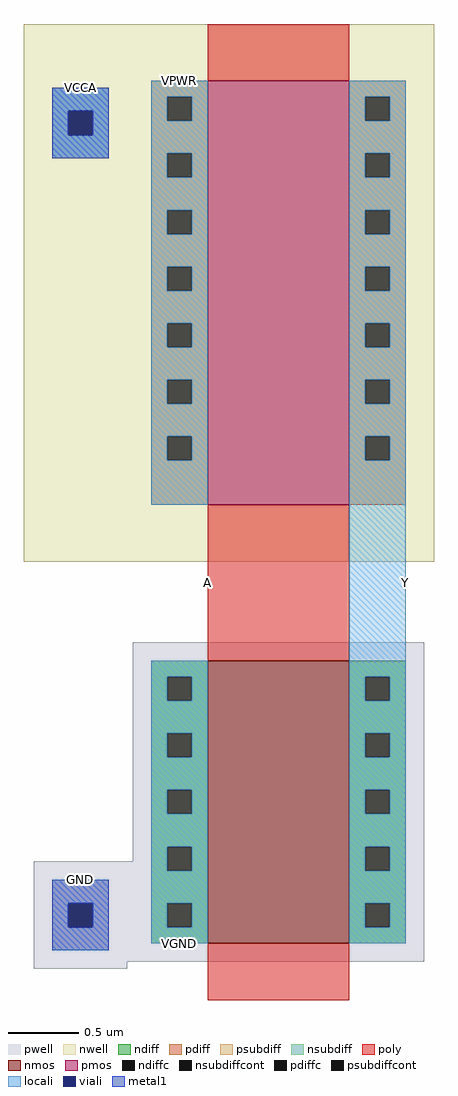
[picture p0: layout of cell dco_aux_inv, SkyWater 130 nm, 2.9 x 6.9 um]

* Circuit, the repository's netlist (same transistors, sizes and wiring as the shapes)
* NGSPICE file created from dco_aux_inv.ext - technology: sky130A

.subckt dco_aux_inv VPWR VCCA A Y GND VGND
X0 Y A VGND GND sky130_fd_pr__nfet_01v8 ad=0.8 pd=4.8 as=0.8 ps=4.8 w=2 l=1
X1 Y A VPWR VCCA sky130_fd_pr__pfet_01v8 ad=1.2 pd=6.8 as=1.2 ps=6.8 w=3 l=1
.ends

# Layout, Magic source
magic
tech sky130A
magscale 1 2
<< nwell >>
rect -260 -80 320 680
<< pwell >>
rect -106 -504 306 -194
rect -246 -646 306 -504
rect -246 -656 -114 -646
<< nmos >>
rect 0 -620 200 -220
<< pmos >>
rect 0 0 200 600
<< ndiff >>
rect -80 -243 0 -220
rect -80 -277 -57 -243
rect -23 -277 0 -243
rect -80 -323 0 -277
rect -80 -357 -57 -323
rect -23 -357 0 -323
rect -80 -403 0 -357
rect -80 -437 -57 -403
rect -23 -437 0 -403
rect -80 -483 0 -437
rect -80 -517 -57 -483
rect -23 -517 0 -483
rect -80 -563 0 -517
rect -80 -597 -57 -563
rect -23 -597 0 -563
rect -80 -620 0 -597
rect 200 -243 280 -220
rect 200 -277 223 -243
rect 257 -277 280 -243
rect 200 -323 280 -277
rect 200 -357 223 -323
rect 257 -357 280 -323
rect 200 -403 280 -357
rect 200 -437 223 -403
rect 257 -437 280 -403
rect 200 -483 280 -437
rect 200 -517 223 -483
rect 257 -517 280 -483
rect 200 -563 280 -517
rect 200 -597 223 -563
rect 257 -597 280 -563
rect 200 -620 280 -597
<< pdiff >>
rect -80 577 0 600
rect -80 543 -57 577
rect -23 543 0 577
rect -80 497 0 543
rect -80 463 -57 497
rect -23 463 0 497
rect -80 417 0 463
rect -80 383 -57 417
rect -23 383 0 417
rect -80 337 0 383
rect -80 303 -57 337
rect -23 303 0 337
rect -80 257 0 303
rect -80 223 -57 257
rect -23 223 0 257
rect -80 177 0 223
rect -80 143 -57 177
rect -23 143 0 177
rect -80 97 0 143
rect -80 63 -57 97
rect -23 63 0 97
rect -80 0 0 63
rect 200 577 280 600
rect 200 543 223 577
rect 257 543 280 577
rect 200 497 280 543
rect 200 463 223 497
rect 257 463 280 497
rect 200 417 280 463
rect 200 383 223 417
rect 257 383 280 417
rect 200 337 280 383
rect 200 303 223 337
rect 257 303 280 337
rect 200 257 280 303
rect 200 223 223 257
rect 257 223 280 257
rect 200 177 280 223
rect 200 143 223 177
rect 257 143 280 177
rect 200 97 280 143
rect 200 63 223 97
rect 257 63 280 97
rect 200 0 280 63
<< ndiffc >>
rect -57 -277 -23 -243
rect -57 -357 -23 -323
rect -57 -437 -23 -403
rect -57 -517 -23 -483
rect -57 -597 -23 -563
rect 223 -277 257 -243
rect 223 -357 257 -323
rect 223 -437 257 -403
rect 223 -517 257 -483
rect 223 -597 257 -563
<< pdiffc >>
rect -57 543 -23 577
rect -57 463 -23 497
rect -57 383 -23 417
rect -57 303 -23 337
rect -57 223 -23 257
rect -57 143 -23 177
rect -57 63 -23 97
rect 223 543 257 577
rect 223 463 257 497
rect 223 383 257 417
rect 223 303 257 337
rect 223 223 257 257
rect 223 143 257 177
rect 223 63 257 97
<< psubdiff >>
rect -220 -563 -140 -530
rect -220 -597 -197 -563
rect -163 -597 -140 -563
rect -220 -630 -140 -597
<< nsubdiff >>
rect -220 557 -140 590
rect -220 523 -197 557
rect -163 523 -140 557
rect -220 490 -140 523
<< psubdiffcont >>
rect -197 -597 -163 -563
<< nsubdiffcont >>
rect -197 523 -163 557
<< poly >>
rect 0 600 200 680
rect 0 -220 200 0
rect 0 -700 200 -620
<< locali >>
rect -220 557 -140 590
rect -220 523 -197 557
rect -163 523 -140 557
rect -220 490 -140 523
rect -80 577 0 600
rect -80 543 -57 577
rect -23 543 0 577
rect -80 497 0 543
rect -80 463 -57 497
rect -23 463 0 497
rect -80 417 0 463
rect -80 383 -57 417
rect -23 383 0 417
rect -80 337 0 383
rect -80 303 -57 337
rect -23 303 0 337
rect -80 257 0 303
rect -80 223 -57 257
rect -23 223 0 257
rect -80 177 0 223
rect -80 143 -57 177
rect -23 143 0 177
rect -80 97 0 143
rect -80 63 -57 97
rect -23 63 0 97
rect -80 0 0 63
rect 200 577 280 600
rect 200 543 223 577
rect 257 543 280 577
rect 200 497 280 543
rect 200 463 223 497
rect 257 463 280 497
rect 200 417 280 463
rect 200 383 223 417
rect 257 383 280 417
rect 200 337 280 383
rect 200 303 223 337
rect 257 303 280 337
rect 200 257 280 303
rect 200 223 223 257
rect 257 223 280 257
rect 200 177 280 223
rect 200 143 223 177
rect 257 143 280 177
rect 200 97 280 143
rect 200 63 223 97
rect 257 63 280 97
rect -80 -243 0 -220
rect -80 -277 -57 -243
rect -23 -277 0 -243
rect -80 -323 0 -277
rect -80 -357 -57 -323
rect -23 -357 0 -323
rect -80 -403 0 -357
rect -80 -437 -57 -403
rect -23 -437 0 -403
rect -80 -483 0 -437
rect -80 -517 -57 -483
rect -23 -517 0 -483
rect -220 -563 -140 -530
rect -220 -597 -197 -563
rect -163 -597 -140 -563
rect -220 -630 -140 -597
rect -80 -563 0 -517
rect -80 -597 -57 -563
rect -23 -597 0 -563
rect -80 -620 0 -597
rect 200 -243 280 63
rect 200 -277 223 -243
rect 257 -277 280 -243
rect 200 -323 280 -277
rect 200 -357 223 -323
rect 257 -357 280 -323
rect 200 -403 280 -357
rect 200 -437 223 -403
rect 257 -437 280 -403
rect 200 -483 280 -437
rect 200 -517 223 -483
rect 257 -517 280 -483
rect 200 -563 280 -517
rect 200 -597 223 -563
rect 257 -597 280 -563
rect 200 -620 280 -597
<< viali >>
rect -197 523 -163 557
rect -197 -597 -163 -563
<< metal1 >>
rect -220 557 -140 590
rect -220 523 -197 557
rect -163 523 -140 557
rect -220 490 -140 523
rect -220 -563 -140 -530
rect -220 -597 -197 -563
rect -163 -597 -140 -563
rect -220 -630 -140 -597
<< labels >>
rlabel locali s -40 600 -40 600 4 VPWR
rlabel metal1 s -180 590 -180 590 4 VCCA
rlabel poly s 0 -110 0 -110 4 A
rlabel locali s 280 -110 280 -110 4 Y
rlabel metal1 s -180 -530 -180 -530 4 GND
rlabel locali s -40 -620 -40 -620 4 VGND
<< end >>
